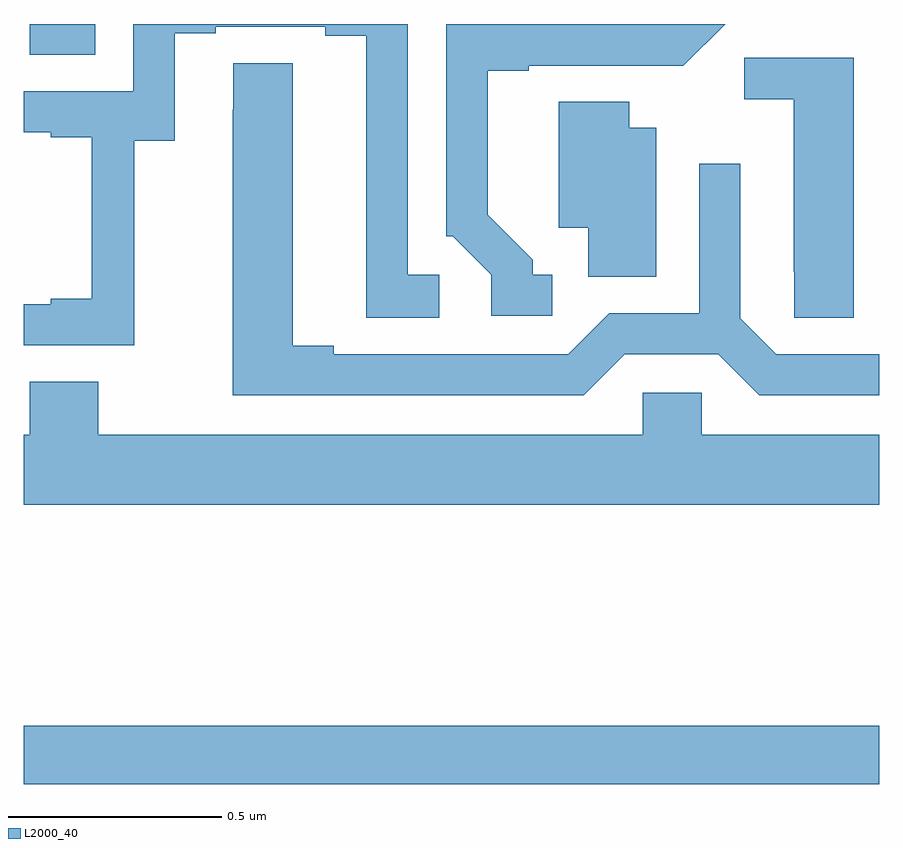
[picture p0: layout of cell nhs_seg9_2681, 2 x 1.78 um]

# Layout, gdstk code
import gdstk
lib = gdstk.Library(unit=1e-6, precision=1e-09)
def R(c, l, rs):  # rectangles x0, y0, x1, y1
    for r in rs: c.add(gdstk.rectangle(r[:2], r[2:], *l))
def P(c, l, *ps):  # polygons
    for p in ps: c.add(gdstk.Polygon(p, *l))
L2000_40 = (2000, 40)

nhs_seg9_2681 = lib.new_cell('nhs_seg9_2681')
R(nhs_seg9_2681, L2000_40, [(143,1239.724,145,1239.86), (143.015,1241.428,143.167,1241.5)])
P(nhs_seg9_2681, L2000_40, [(143.259,1241.227),(143.353,1241.227),(143.353,1241.478),(143.449,1241.478),(143.449,1241.493),(143.705,1241.493),(143.705,1241.473),(143.801,1241.473),(143.801,1240.813),(143.971,1240.813),(143.971,1240.914),(143.898,1240.914),(143.898,1241.5),(143.256,1241.5),(143.256,1241.343),(143,1241.343),(143,1241.247),(143.063,1241.247),(143.063,1241.235),(143.159,1241.235),(143.159,1240.858),(143.063,1240.858),(143.063,1240.845),(143,1240.845),(143,1240.749),(143.259,1240.749)],
  [(144.235,1240.914),(144.19,1240.914),(144.19,1240.949),(144.085,1241.054),(144.085,1241.391),(144.181,1241.391),(144.181,1241.403),(144.446,1241.403),(144.446,1241.402),(144.542,1241.402),(144.64,1241.5),(144.508,1241.5),(144.507,1241.499),(144.251,1241.499),(144.251,1241.5),(143.988,1241.5),(143.988,1241.004),(144.003,1241.004),(144.093,1240.914),(144.093,1240.818),(144.235,1240.818)],
  [(144.94,1241.421),(144.684,1241.421),(144.684,1241.324),(144.8,1241.324),(144.8,1240.921),(144.801,1240.921),(144.801,1240.813),(144.94,1240.813)],
  [(144.405,1240.728),(144.623,1240.728),(144.719,1240.632),(145,1240.632),(145,1240.728),(144.759,1240.728),(144.675,1240.812),(144.675,1241.173),(144.579,1241.173),(144.579,1240.824),(144.369,1240.824),(144.273,1240.728),(143.725,1240.728),(143.725,1240.748),(143.629,1240.748),(143.629,1241.408),(143.49,1241.408),(143.49,1241.3),(143.489,1241.3),(143.489,1240.632),(144.309,1240.632)],
  [(144.478,1241.257),(144.415,1241.257),(144.415,1241.318),(144.251,1241.318),(144.251,1241.024),(144.32,1241.024),(144.32,1240.909),(144.478,1240.909)],
  [(145,1240.54),(144.585,1240.54),(144.585,1240.638),(144.447,1240.638),(144.447,1240.54),(143.175,1240.54),(143.175,1240.664),(143.015,1240.664),(143.015,1240.54),(143,1240.54),(143,1240.376),(145,1240.376)])

lib.write_gds('nhs_seg9_2681.gds')
